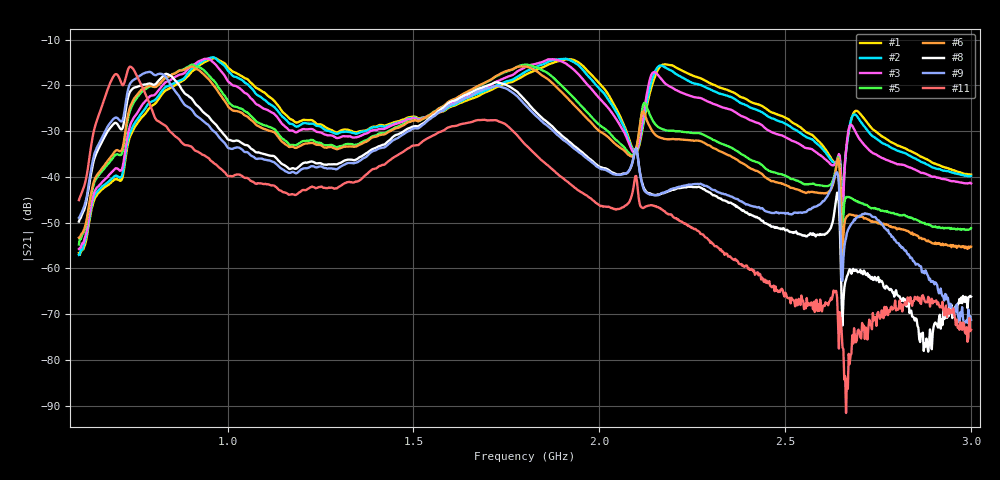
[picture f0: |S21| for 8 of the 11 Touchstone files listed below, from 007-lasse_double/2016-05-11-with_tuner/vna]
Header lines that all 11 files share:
#  HZ  S  RI  R  50.00
! Rohde & Schwarz ZVB8 2Ports - Version 2.81 - 1145.1010k08 SN: 100113
! Measurements: S11 S21 S12 S22
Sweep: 600 MHz to 3 GHz
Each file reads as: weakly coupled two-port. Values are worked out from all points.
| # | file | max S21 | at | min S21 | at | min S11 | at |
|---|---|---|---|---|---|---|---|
| 1 | wonder_0_0_0_0.s2p | -14.03 dB | 965.2 MHz | -57.1 dB | 602.4 MHz | -23.7 dB | 2.69 GHz |
| 2 | wonder_2_0_0_0.s2p | -13.84 dB | 960.4 MHz | -57.1 dB | 600 MHz | -29.8 dB | 2.685 GHz |
| 3 | wonder_6_0_0_0.s2p | -14.15 dB | 945.9 MHz | -55.8 dB | 600 MHz | -24.7 dB | 2.676 GHz |
| 4 | wonder_8_0_0_0.s2p | -14.38 dB | 1.864 GHz | -55.3 dB | 600 MHz | -32.0 dB | 2.668 GHz |
| 5 | wonder_e_0_0_0.s2p | -15.43 dB | 1.804 GHz | -55.3 dB | 2.654 GHz | -14.8 dB | 782.6 MHz |
| 6 | wonder_f_1_0_0.s2p | -15.85 dB | 1.789 GHz | -59.4 dB | 2.654 GHz | -14.3 dB | 775.4 MHz |
| 7 | wonder_f_9_0_0.s2p | -17.21 dB | 852.3 MHz | -64.8 dB | 2.654 GHz | -13.1 dB | 736.9 MHz |
| 8 | wonder_f_f_0_0.s2p | -17.47 dB | 835.4 MHz | -78.2 dB | 2.885 GHz | -13.4 dB | 705.7 MHz |
| 9 | wonder_f_f_6_0.s2p | -17.03 dB | 789.8 MHz | -71.9 dB | 2.99 GHz | -13.4 dB | 705.7 MHz |
| 10 | wonder_f_f_f_3.s2p | -13.73 dB | 756.2 MHz | -84.1 dB | 2.671 GHz | -13.4 dB | 705.7 MHz |
| 11 | wonder_f_f_f_f.s2p | -15.89 dB | 736.9 MHz | -91.6 dB | 2.664 GHz | -13.0 dB | 708.1 MHz |
